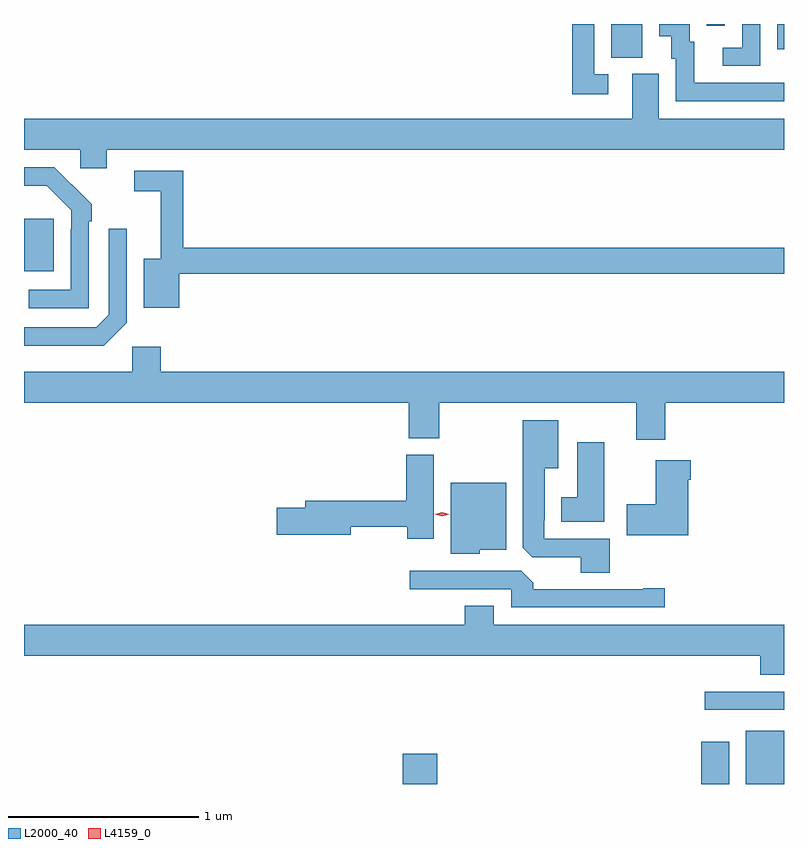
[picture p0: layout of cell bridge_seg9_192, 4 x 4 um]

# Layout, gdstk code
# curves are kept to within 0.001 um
import gdstk
lib = gdstk.Library(unit=1e-6, precision=1e-09)
def R(c, l, rs):  # rectangles x0, y0, x1, y1
    for r in rs: c.add(gdstk.rectangle(r[:2], r[2:], *l))
def P(c, l, *ps):  # polygons
    for p in ps: c.add(gdstk.Polygon(p, *l))
L2000_40 = (2000, 40)
L4159_0 = (4159, 0)

bridge_seg9_192 = lib.new_cell('bridge_seg9_192')
R(bridge_seg9_192, L2000_40, [(209.288,1194.414,209.471,1194.574), (210.86,1194.414,211.006,1194.637), (211.094,1194.414,211.295,1194.694), (210.879,1194.804,211.295,1194.9), (207.295,1197.113,207.451,1197.388), (210.386,1198.237,210.55,1198.414), (211.259,1198.281,211.295,1198.414), (210.888,1198.404,210.984,1198.414)])
P(bridge_seg9_192, L2000_40, [(211.17,1198.414),(211.074,1198.414),(211.074,1198.29),(210.972,1198.29),(210.972,1198.194),(211.17,1198.194)],
  [(211.295,1198.104),(210.823,1198.104),(210.823,1198.32),(210.799,1198.32),(210.799,1198.414),(210.638,1198.414),(210.638,1198.349),(210.701,1198.349),(210.701,1198.23),(210.726,1198.23),(210.726,1198.008),(211.295,1198.008)],
  [(210.37,1198.149),(210.297,1198.149),(210.297,1198.414),(210.181,1198.414),(210.181,1198.044),(210.37,1198.044)],
  [(207.73,1197.752),(211.295,1197.752),(211.295,1197.916),(210.637,1197.916),(210.637,1198.152),(210.497,1198.152),(210.497,1197.916),(207.295,1197.916),(207.295,1197.752),(207.591,1197.752),(207.591,1197.654),(207.73,1197.654)],
  [(207.636,1197.377),(207.651,1197.377),(207.651,1197.465),(207.454,1197.66),(207.295,1197.66),(207.295,1197.564),(207.415,1197.564),(207.543,1197.435),(207.543,1197.335),(207.54,1197.335),(207.54,1197.015),(207.321,1197.015),(207.321,1196.919),(207.636,1196.919)],
  [(208.113,1197.1),(211.295,1197.1),(211.295,1197.236),(208.133,1197.236),(208.133,1197.642),(207.876,1197.642),(207.876,1197.534),(208.016,1197.534),(208.016,1197.178),(207.926,1197.178),(207.926,1196.921),(208.113,1196.921)],
  [(207.837,1196.841),(207.837,1197.337),(207.741,1197.337),(207.741,1196.883),(207.675,1196.817),(207.295,1196.817),(207.295,1196.72),(207.716,1196.72)],
  [(208.016,1196.716),(207.864,1196.716),(207.864,1196.584),(207.295,1196.584),(207.295,1196.42),(209.321,1196.42),(209.321,1196.233),(209.481,1196.233),(209.481,1196.42),(210.518,1196.42),(210.518,1196.226),(210.671,1196.226),(210.671,1196.42),(211.295,1196.42),(211.295,1196.584),(208.016,1196.584)],
  [(210.377,1195.704),(210.033,1195.704),(210.033,1195.801),(210.037,1195.801),(210.037,1196.075),(210.106,1196.075),(210.106,1196.329),(209.921,1196.329),(209.921,1195.657),(209.97,1195.608),(210.224,1195.608),(210.224,1195.525),(210.377,1195.525)],
  [(210.349,1196.212),(210.206,1196.212),(210.206,1195.924),(210.122,1195.924),(210.122,1195.793),(210.349,1195.793)],
  [(209.452,1196.148),(209.306,1196.148),(209.306,1195.904),(208.775,1195.904),(208.775,1195.868),(208.626,1195.868),(208.626,1195.726),(209.014,1195.726),(209.014,1195.768),(209.311,1195.768),(209.311,1195.704),(209.452,1195.704)],
  [(210.79,1196.015),(210.803,1196.015),(210.803,1196.119),(210.62,1196.119),(210.62,1195.887),(210.468,1195.887),(210.468,1195.724),(210.79,1195.724)],
  [(209.694,1195.646),(209.833,1195.646),(209.833,1195.999),(209.54,1195.999),(209.54,1195.625),(209.694,1195.625)],
  [(210.667,1195.445),(210.554,1195.445),(210.554,1195.44),(209.975,1195.44),(209.975,1195.474),(209.913,1195.536),(209.325,1195.536),(209.325,1195.44),(209.859,1195.44),(209.859,1195.344),(210.667,1195.344)],
  [(211.295,1195.252),(209.767,1195.252),(209.767,1195.351),(209.615,1195.351),(209.615,1195.252),(207.295,1195.252),(207.295,1195.088),(211.169,1195.088),(211.169,1194.989),(211.295,1194.989)])
P(bridge_seg9_192, L4159_0, [(209.495,1195.823),(209.457,1195.833),(209.457,1195.833),(209.457,1195.833),(209.495,1195.843),(209.533,1195.833),(209.533,1195.833),(209.533,1195.833)])

lib.write_gds('bridge_seg9_192.gds')
